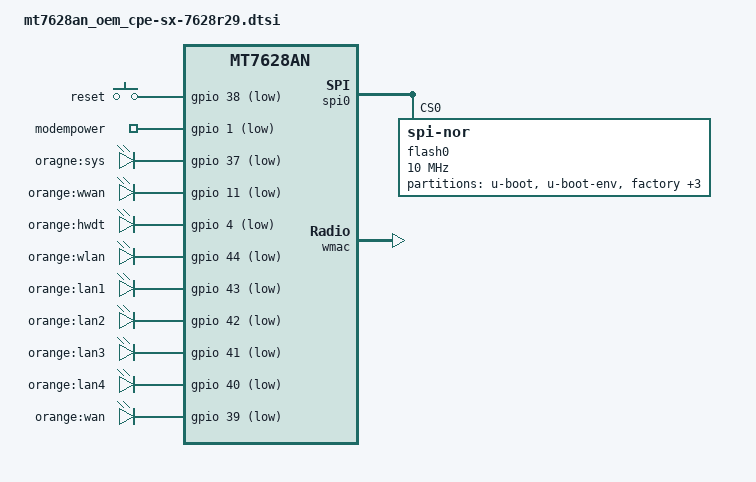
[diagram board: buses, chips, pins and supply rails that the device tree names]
#include <dt-bindings/input/input.h>
#include <dt-bindings/gpio/gpio.h>

#include "mt7628an.dtsi"

/ {
	compatible = "oem,cpe-sx-7628r29", "mediatek,mt7628an-soc";

	aliases {
		led-boot = &led_sys;
		led-failsafe = &led_sys;
		led-running = &led_sys;
		led-upgrade = &led_sys;
	};

	chosen {
		bootargs = "console=ttyS0,115200";
	};

	keys {
		compatible = "gpio-keys-polled";
		poll-interval = <20>;

		reset {
			label = "reset";
			gpios = <&gpio 38 GPIO_ACTIVE_LOW>;
			linux,code = <KEY_RESTART>;
		};
	};

	gpio_export {
		compatible = "gpio-export";
		#size-cells = <0>;
		modempower {
			gpio-export,name = "modempower";
			gpio-export,output = <1>;
			gpios = <&gpio 1 GPIO_ACTIVE_LOW>;
		};
	};

	leds {
		compatible = "gpio-leds";

		led_sys: sys {
			label = "oragne:sys";
			gpios = <&gpio 37 GPIO_ACTIVE_LOW>;
		};

		wwan {
			label = "orange:wwan";
			gpios = <&gpio 11 GPIO_ACTIVE_LOW>;
		};

		hwdt {
			label = "orange:hwdt";
			gpios = <&gpio 4 GPIO_ACTIVE_LOW>;
			linux,default-trigger = "timer";
	        };

		wlan {
			label = "orange:wlan";
			gpios = <&gpio 44 GPIO_ACTIVE_LOW>;
			linux,default-trigger = "phy0pt";
		};

		lan1 {
			label = "orange:lan1";
			gpios = <&gpio 43 GPIO_ACTIVE_LOW>;
		};

		lan2 {
			label = "orange:lan2";
			gpios = <&gpio 42 GPIO_ACTIVE_LOW>;
		};

		lan3 {
			label = "orange:lan3";
			gpios = <&gpio 41 GPIO_ACTIVE_LOW>;
		};

		lan4 {
			label = "orange:lan4";
			gpios = <&gpio 40 GPIO_ACTIVE_LOW>;
		};

		wan {
			label = "orange:wan";
			gpios = <&gpio 39 GPIO_ACTIVE_LOW>;
		};
	};
};

&spi0 {
	status = "okay";

	flash0: flash@0 {
		compatible = "jedec,spi-nor";
		reg = <0>;
		spi-max-frequency = <10000000>;

		partitions {
			compatible = "fixed-partitions";
			#address-cells = <1>;
			#size-cells = <1>;

			partition@0 {
				label = "u-boot";
				reg = <0x0 0x30000>;
				read-only;
			};

			partition@30000 {
				label = "u-boot-env";
				reg = <0x30000 0x10000>;
			};

			factory: partition@40000 {
				label = "factory";
				reg = <0x40000 0x10000>;
				read-only;
			};

			partition@7e0000 {
				label = "backup";
				reg = <0x7e0000 0x10000>;
			};

			partition@7f0000 {
				label = "bdinfo";
				reg = <0x7f0000 0x10000>;
			};

			firmware: partition@50000 {
				compatible = "denx,uimage";
				label = "firmware";
			};
		};
	};
};

&pinctrl {
	state_default: pinctrl0 {
		gpio {
			groups = "gpio", "refclk", "wled_an"; 
			function = "gpio";
		};
	};
};

&wmac {
	status = "okay";
};

&ethernet {
	mtd-mac-address = <&factory 0xe000>;
};

